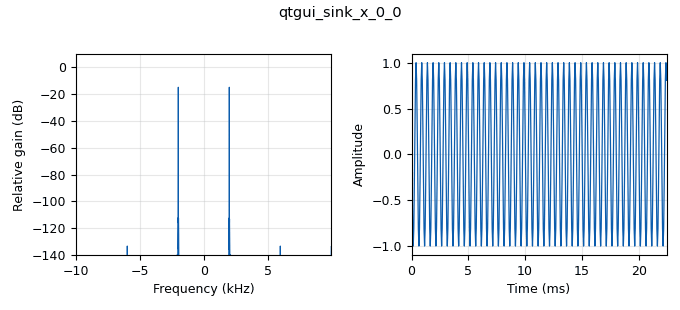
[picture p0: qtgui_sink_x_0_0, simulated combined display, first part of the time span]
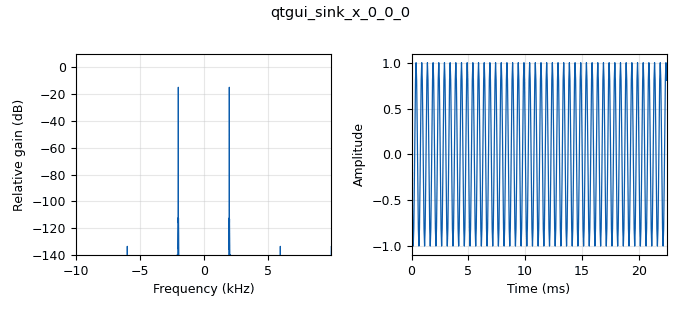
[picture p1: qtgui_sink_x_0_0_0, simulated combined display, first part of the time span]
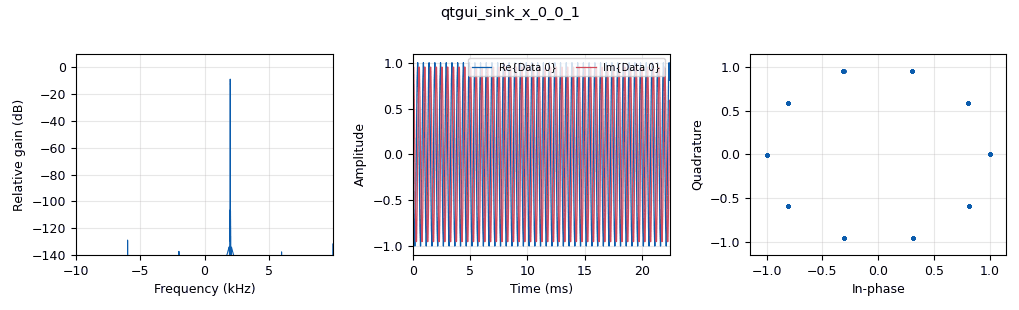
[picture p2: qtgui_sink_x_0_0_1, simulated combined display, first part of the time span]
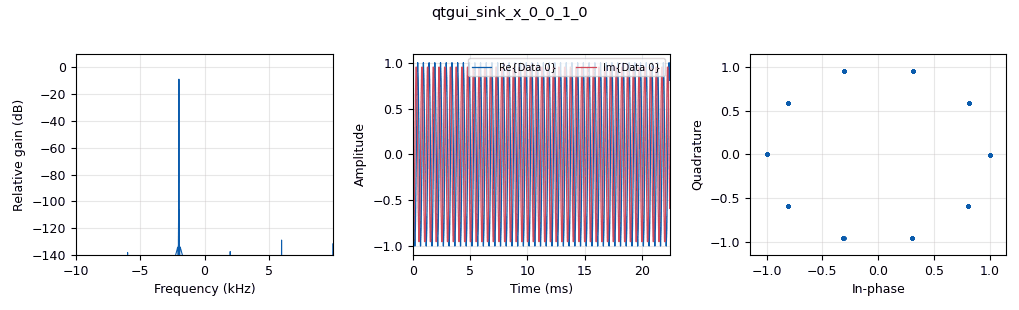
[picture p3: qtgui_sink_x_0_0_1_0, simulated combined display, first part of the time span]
options:
  parameters:
    generate_options: qt_gui
    id: rtl_receive
    output_language: python
    title: Not titled yet
  states: {}

blocks:
- name: Fc
  id: variable_qtgui_range
  parameters:
    label: Frequency Fc (Hz)
    orient: Qt.Horizontal
    start: '0'
    step: '1'
    stop: 4*samp_rate
    value: '2000'
  states: {}
- name: samp_rate
  id: variable
  parameters:
    value: 20e3
  states: {}
- name: analog_sig_source_x_0
  id: analog_sig_source_x
  parameters:
    amp: '1'
    freq: Fc
    offset: '0'
    phase: '0'
    samp_rate: samp_rate
    type: float
    waveform: analog.GR_COS_WAVE
  states: {}
- name: analog_sig_source_x_0_0
  id: analog_sig_source_x
  parameters:
    amp: '1'
    freq: '-Fc'
    offset: '0'
    phase: '0'
    samp_rate: samp_rate
    type: float
    waveform: analog.GR_COS_WAVE
  states: {}
- name: analog_sig_source_x_0_1
  id: analog_sig_source_x
  parameters:
    amp: '1'
    freq: Fc
    offset: '0'
    phase: '0'
    samp_rate: samp_rate
    type: complex
    waveform: analog.GR_COS_WAVE
  states: {}
- name: analog_sig_source_x_0_1_0
  id: analog_sig_source_x
  parameters:
    amp: '1'
    freq: '-Fc'
    offset: '0'
    phase: '0'
    samp_rate: samp_rate
    type: complex
    waveform: analog.GR_COS_WAVE
  states: {}
- name: qtgui_sink_x_0_0
  id: qtgui_sink_x
  parameters:
    bw: samp_rate
    fc: '0'
    fftsize: 1024*8
    type: float
    wintype: firdes.WIN_BLACKMAN_hARRIS
  states: {}
- name: qtgui_sink_x_0_0_0
  id: qtgui_sink_x
  parameters:
    bw: samp_rate
    fc: '0'
    fftsize: 1024*8
    type: float
    wintype: firdes.WIN_BLACKMAN_hARRIS
  states: {}
- name: qtgui_sink_x_0_0_1
  id: qtgui_sink_x
  parameters:
    bw: samp_rate
    fc: '0'
    fftsize: 1024*8
    type: complex
    wintype: firdes.WIN_BLACKMAN_hARRIS
  states: {}
- name: qtgui_sink_x_0_0_1_0
  id: qtgui_sink_x
  parameters:
    bw: samp_rate
    fc: '0'
    fftsize: 1024*8
    type: complex
    wintype: firdes.WIN_BLACKMAN_hARRIS
  states: {}

connections:
- [analog_sig_source_x_0, '0', qtgui_sink_x_0_0, '0']
- [analog_sig_source_x_0_0, '0', qtgui_sink_x_0_0_0, '0']
- [analog_sig_source_x_0_1, '0', qtgui_sink_x_0_0_1, '0']
- [analog_sig_source_x_0_1_0, '0', qtgui_sink_x_0_0_1_0, '0']

metadata:
  file_format: 1
